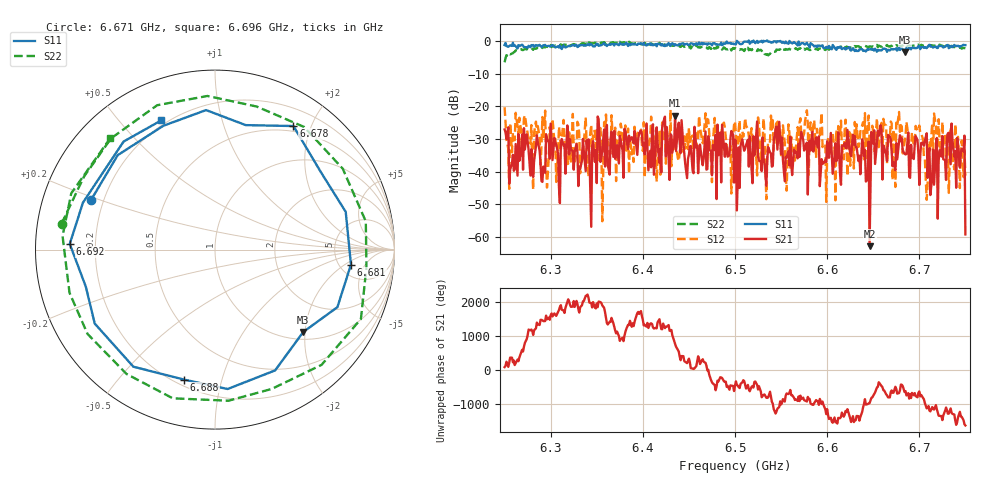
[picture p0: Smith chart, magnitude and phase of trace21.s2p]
# Hz S RI R 50
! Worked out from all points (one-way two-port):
!   401 points, 6.25 GHz to 6.75 GHz, reference 50 ohm
!   highest |S21| = -22.82 dB at 6.435 GHz (marker M1); lowest = -62.8 dB at 6.646 GHz (marker M2)
!   lowest |S11| = -3.4 dB at 6.684 GHz (marker M3), VSWR 5.11, Z = 58.4 - j97.9 ohm
!   |S11| at or under -10 dB: nowhere
!   |S22| runs from -6.5 to -0.2 dB; largest |S21 - S12| = 0.11
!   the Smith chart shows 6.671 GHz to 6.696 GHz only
!   S11 on the Smith chart (normalised r, x): 6.671 GHz: 0.15, +0.19; 6.678 GHz: 0.42, +1.74; 6.681 GHz: 6.38, -2.53; 6.688 GHz: 0.23, -0.76; 6.692 GHz: 0.11, +0.02; 6.696 GHz: 0.18, +0.65
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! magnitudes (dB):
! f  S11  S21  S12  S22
! 6.25 GHz  -1.2  -27.1  -20.3  -6.5
! 6.258 GHz  -1.5  -37.5  -34.1  -3.8
! 6.334 GHz  -1.2  -36.5  -33.7  -0.7
! 6.418 GHz  -0.8  -37.2  -27.8  -0.5
! 6.435 GHz  -0.9  -22.8  -33.0  -1.2
! 6.5 GHz  -0.9  -30.2  -24.6  -2.2
! 6.584 GHz  -1.1  -27.8  -29.0  -2.6
! 6.598 GHz  -2.1  -36.5  -31.7  -2.7
! 6.646 GHz  -2.6  -62.8  -31.4  -1.6
! 6.668 GHz  -2.8  -29.2  -29.9  -1.7
! 6.671 GHz  -2.6  -38.3  -42.6  -1.2
! 6.678 GHz  -1.8  -30.9  -21.7  -1.6
! 6.681 GHz  -2.4  -29.8  -26.2  -1.4
! 6.684 GHz  -3.4  -34.5  -30.9  -0.9
! 6.688 GHz  -2.6  -27.9  -28.7  -1.5
! 6.692 GHz  -1.8  -35.4  -28.0  -1.5
! 6.696 GHz  -2.2  -29.1  -26.0  -1.4
! 6.708 GHz  -2.2  -28.2  -48.6  -1.1
! 6.715 GHz  -2.0  -33.2  -35.4  -1.5
! 6.734 GHz  -1.6  -37.7  -26.5  -1.9
! 6.746 GHz  -1.5  -33.0  -30.5  -2.3
! 6.75 GHz  -1.2  -59.2  -41.2  -2.2
